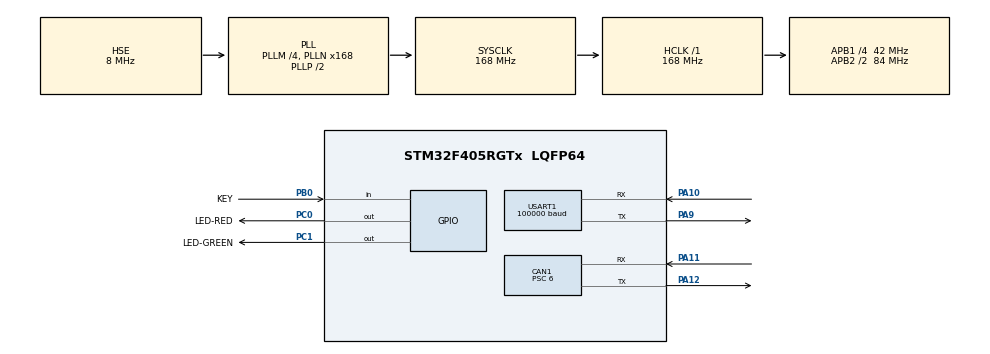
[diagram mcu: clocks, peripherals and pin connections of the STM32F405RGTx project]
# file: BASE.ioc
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CAN1.BS1=CAN_BS1_3TQ
CAN1.BS2=CAN_BS2_4TQ
CAN1.CalculateBaudRate=875000
CAN1.CalculateTimeBit=1142.85
CAN1.CalculateTimeQuantum=142.85714285714286
CAN1.NART=ENABLE
CAN1.Prescaler=6
Dma.Request0=USART1_RX
Dma.USART1_RX.0.Direction=DMA_PERIPH_TO_MEMORY
Dma.USART1_RX.0.FIFOMode=DMA_FIFOMODE_DISABLE
Dma.USART1_RX.0.Instance=DMA2_Stream2
Dma.USART1_RX.0.MemDataAlignment=DMA_MDATAALIGN_BYTE
Dma.USART1_RX.0.MemInc=DMA_MINC_ENABLE
Dma.USART1_RX.0.Mode=DMA_NORMAL
Dma.USART1_RX.0.PeriphDataAlignment=DMA_PDATAALIGN_BYTE
Dma.USART1_RX.0.PeriphInc=DMA_PINC_DISABLE
Dma.USART1_RX.0.Priority=DMA_PRIORITY_LOW
IWDG.Reload=8
Mcu.Family=STM32F4
Mcu.Name=STM32F405RGTx
Mcu.Package=LQFP64
NVIC.CAN1_RX0_IRQn=true\:1\:0\:true\:false\:true\:true\:true
NVIC.DMA2_Stream2_IRQn=true\:0\:0\:false\:false\:true\:false\:true
NVIC.PriorityGroup=NVIC_PRIORITYGROUP_4
NVIC.TIM2_IRQn=true\:2\:0\:true\:false\:true\:true\:true
NVIC.USART1_IRQn=true\:0\:0\:false\:false\:true\:true\:true
PA10.Mode=Asynchronous
PA10.Signal=USART1_RX
PA11.Mode=CAN_Activate
PA11.Signal=CAN1_RX
PA12.Mode=CAN_Activate
PA12.Signal=CAN1_TX
PA13.Mode=Serial_Wire
PA13.Signal=SYS_JTMS-SWDIO
PA14.Mode=Serial_Wire
PA14.Signal=SYS_JTCK-SWCLK
PA9.Mode=Asynchronous
PA9.Signal=USART1_TX
PB0.GPIO_Label=KEY
PB0.GPIO_PuPd=GPIO_PULLUP
PB0.Signal=GPIO_Input
PC0.GPIO_Label=LED-RED
PC0.GPIO_PuPd=GPIO_PULLDOWN
PC0.Signal=GPIO_Output
PC1.GPIO_Label=LED-GREEN
PC1.GPIO_PuPd=GPIO_PULLDOWN
PC1.Signal=GPIO_Output
PH0-OSC_IN.Mode=HSE-External-Oscillator
PH0-OSC_IN.Signal=RCC_OSC_IN
PH1-OSC_OUT.Mode=HSE-External-Oscillator
PH1-OSC_OUT.Signal=RCC_OSC_OUT
ProjectManager.HeapSize=0x200
ProjectManager.StackSize=0x400
ProjectManager.TargetToolchain=MDK-ARM V5.27
RCC.48MHZClocksFreq_Value=84000000
RCC.AHBFreq_Value=168000000
RCC.APB1CLKDivider=RCC_HCLK_DIV4
RCC.APB1Freq_Value=42000000
RCC.APB1TimFreq_Value=84000000
RCC.APB2CLKDivider=RCC_HCLK_DIV2
RCC.APB2Freq_Value=84000000
RCC.APB2TimFreq_Value=168000000
RCC.CortexFreq_Value=168000000
RCC.HCLKFreq_Value=168000000
RCC.HSE_VALUE=8000000
RCC.HSI_VALUE=16000000
RCC.LSE_VALUE=32768
RCC.PLLM=4
RCC.PLLN=168
RCC.PLLSourceVirtual=RCC_PLLSOURCE_HSE
RCC.SYSCLKFreq_VALUE=168000000
RCC.SYSCLKSource=RCC_SYSCLKSOURCE_PLLCLK
RCC.VCOOutputFreq_Value=336000000
TIM2.AutoReloadPreload=TIM_AUTORELOAD_PRELOAD_ENABLE
TIM2.Period=999
TIM2.Prescaler=83
USART1.BaudRate=100000
USART1.Parity=PARITY_EVEN
USART1.VirtualMode=VM_ASYNC
USART1.WordLength=WORDLENGTH_9B
VP_IWDG_VS_IWDG.Mode=IWDG_Activate
VP_TIM2_VS_ClockSourceINT.Mode=Internal
board=custom

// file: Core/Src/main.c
/* USER CODE BEGIN Header */
/**
  ******************************************************************************
  * @file           : main.c
  * @brief          : Main program body
  ******************************************************************************
  * @attention
  *
  * <h2><center>&copy; Copyright (c) 2020 STMicroelectronics.
  * All rights reserved.</center></h2>
  *
  * This software component is licensed by ST under BSD 3-Clause license,
  * the "License"; You may not use this file except in compliance with the
  * License. You may obtain a copy of the License at:
  *                        opensource.org/licenses/BSD-3-Clause
  *
  ******************************************************************************
  */
/* USER CODE END Header */
#include "main.h"
#include "can.h"
#include "dma.h"
#include "iwdg.h"
#include "tim.h"
#include "usart.h"
#include "gpio.h"

/* USER CODE BEGIN Includes */
#include "robo_base.h"
/* USER CODE END Includes */

/* USER CODE BEGIN PV */
  CAN_RxHeaderTypeDef RxHeader;
 	Motor_Speed_Info Motor;
 	Speed_System Speed_Motor;
  uint8_t RX_Data[8];
  uint8_t Tx_Data[8];
	uint8_t Rx_Data[18];
	uint8_t TX_Data[18];
	RC_Ctl_t RC_Ctl;
/* USER CODE END PV */

void SystemClock_Config(void);

int main(void)
{
  /* USER CODE BEGIN 1 */
	Speed_Motor.Tar_Speed=0;
  /* USER CODE END 1 */

  /* MCU Configuration--------------------------------------------------------*/

  /* Reset of all peripherals, Initializes the Flash interface and the Systick. */
  HAL_Init();

  /* USER CODE BEGIN Init */
	PID_Init(&Speed_Motor.Speed_PID,5,0,0,5000,0,5000,5000);
  /* USER CODE END Init */

  /* Configure the system clock */
  SystemClock_Config();

  /* Initialize all configured peripherals */
  MX_GPIO_Init();
  MX_DMA_Init();
  MX_CAN1_Init();
  MX_TIM2_Init();
  MX_USART1_UART_Init();
  MX_IWDG_Init();
  /* USER CODE BEGIN 2 */
	CAN_Start_IT(&hcan1);
	HAL_TIM_Base_Start_IT(&htim2);
	HAL_UART_Receive_DMA(&huart1,Rx_Data,18);
	//HAL_UART_Transmit(&huart1,TX_Data,sizeof(TX_Data),10000);

  /* USER CODE END 2 */

  /* Infinite loop */
  while (1)
  {

    /* USER CODE BEGIN 3 */
//HAL_GPIO_TogglePin(GPIOC,GPIO_PIN_0);
//	HAL_GPIO_TogglePin(GPIOC,GPIO_PIN_1);

  }
  /* USER CODE END 3 */
}

void SystemClock_Config(void)
{
  RCC_OscInitTypeDef RCC_OscInitStruct = {0};
  RCC_ClkInitTypeDef RCC_ClkInitStruct = {0};

  /** Configure the main internal regulator output voltage
  */
  __HAL_RCC_PWR_CLK_ENABLE();
  __HAL_PWR_VOLTAGESCALING_CONFIG(PWR_REGULATOR_VOLTAGE_SCALE1);
  /** Initializes the RCC Oscillators according to the specified parameters
  * in the RCC_OscInitTypeDef structure.
  */
  RCC_OscInitStruct.OscillatorType = RCC_OSCILLATORTYPE_LSI|RCC_OSCILLATORTYPE_HSE;
  RCC_OscInitStruct.HSEState = RCC_HSE_ON;
  RCC_OscInitStruct.LSIState = RCC_LSI_ON;
  RCC_OscInitStruct.PLL.PLLState = RCC_PLL_ON;
  RCC_OscInitStruct.PLL.PLLSource = RCC_PLLSOURCE_HSE;
  RCC_OscInitStruct.PLL.PLLM = 4;
  RCC_OscInitStruct.PLL.PLLN = 168;
  RCC_OscInitStruct.PLL.PLLP = RCC_PLLP_DIV2;
  RCC_OscInitStruct.PLL.PLLQ = 4;
  if (HAL_RCC_OscConfig(&RCC_OscInitStruct) != HAL_OK)
  {
    Error_Handler();
  }
  /** Initializes the CPU, AHB and APB buses clocks
  */
  RCC_ClkInitStruct.ClockType = RCC_CLOCKTYPE_HCLK|RCC_CLOCKTYPE_SYSCLK
                              |RCC_CLOCKTYPE_PCLK1|RCC_CLOCKTYPE_PCLK2;
  RCC_ClkInitStruct.SYSCLKSource = RCC_SYSCLKSOURCE_PLLCLK;
  RCC_ClkInitStruct.AHBCLKDivider = RCC_SYSCLK_DIV1;
  RCC_ClkInitStruct.APB1CLKDivider = RCC_HCLK_DIV4;
  RCC_ClkInitStruct.APB2CLKDivider = RCC_HCLK_DIV2;

  if (HAL_RCC_ClockConfig(&RCC_ClkInitStruct, FLASH_LATENCY_5) != HAL_OK)
  {
    Error_Handler();
  }
}

/* USER CODE BEGIN 4 */
void HAL_UART_RxCpltCallback(UART_HandleTypeDef *UartHandle)
{
				RC_Ctl.rc.ch0 = (Rx_Data[0]| (Rx_Data[1] << 8)) & 0x07ff;
				RC_Ctl.rc.ch1 = ((Rx_Data[1] >> 3) | (Rx_Data[2] << 5)) & 0x07ff;
				RC_Ctl.rc.ch2 = ((Rx_Data[2] >> 6) | (Rx_Data[3] << 2) | (Rx_Data[4] << 10)) & 0x07ff;
				RC_Ctl.rc.ch3 = ((Rx_Data[4] >> 1) | (Rx_Data[5] << 7)) & 0x07ff;
				RC_Ctl.rc.s1  = ((Rx_Data[5] >> 4)& 0x000C) >> 2;
				RC_Ctl.rc.s2  = ((Rx_Data[5] >> 4)& 0x0003);

				RC_Ctl.mouse.x = Rx_Data[6] | (Rx_Data[7] << 8);
				RC_Ctl.mouse.y = Rx_Data[8] | (Rx_Data[9] << 8);
				RC_Ctl.mouse.z = Rx_Data[10] | (Rx_Data[11] << 8);
				RC_Ctl.mouse.press_l = Rx_Data[12];
				RC_Ctl.mouse.press_r = Rx_Data[13];
				RC_Ctl.key.v = Rx_Data[14] | (Rx_Data[15] << 8);
				HAL_UART_Receive_DMA(&huart1,Rx_Data,18);
}

void Motor_control(Speed_System *Speed,Pos_System *Pos,uint8_t *RxData,uint8_t *TxData)
{

			Speed_Info_Analysis(Speed,RxData);
			PID_Speed_Cal(Speed,TxData);
			Send_To_Motor(&hcan1,TxData);

	}

/* USER CODE END 4 */

void Error_Handler(void)
{
  __disable_irq();
  while (1)
  {
  }
}

/************************ (C) COPYRIGHT STMicroelectronics *****END OF FILE****/
